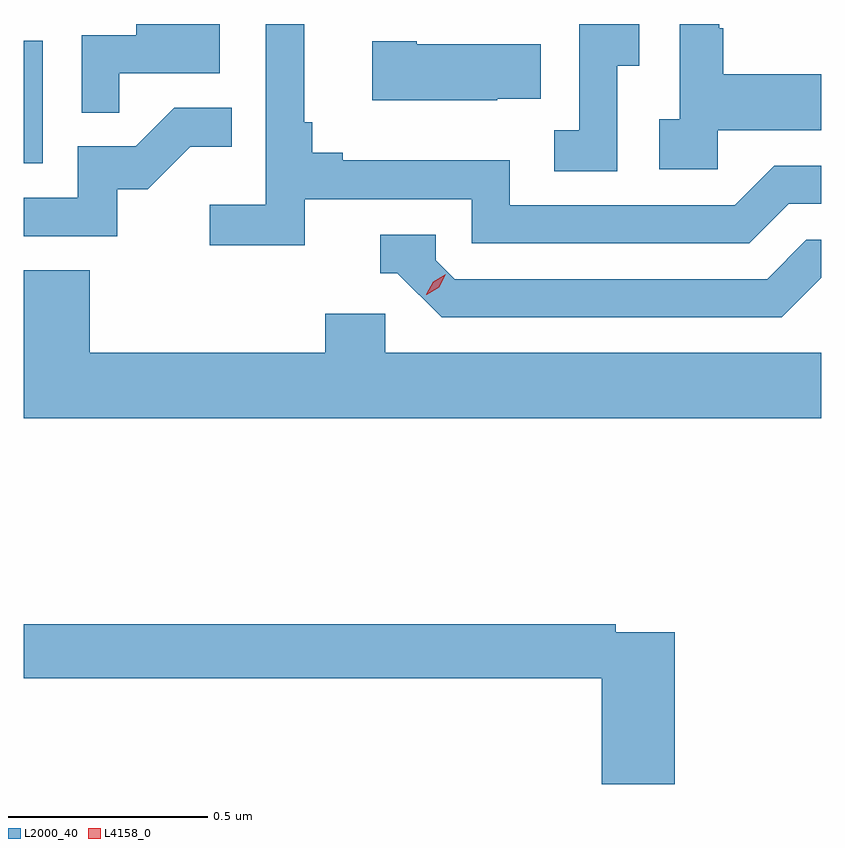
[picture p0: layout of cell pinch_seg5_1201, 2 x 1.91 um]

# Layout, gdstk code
import gdstk
lib = gdstk.Library(unit=1e-6, precision=1e-09)
def R(c, l, rs):  # rectangles x0, y0, x1, y1
    for r in rs: c.add(gdstk.rectangle(r[:2], r[2:], *l))
def P(c, l, *ps):  # polygons
    for p in ps: c.add(gdstk.Polygon(p, *l))
L2000_40 = (2000, 40)
L4158_0 = (4158, 0)

pinch_seg5_1201 = lib.new_cell('pinch_seg5_1201')
R(pinch_seg5_1201, L2000_40, [(838.763,840.084,838.81,840.391)])
P(pinch_seg5_1201, L2000_40, [(839.468,839.994),(839.886,839.994),(839.886,839.883),(840.583,839.883),(840.682,839.982),(840.763,839.982),(840.763,840.078),(840.645,840.078),(840.546,839.979),(839.982,839.979),(839.982,840.091),(839.563,840.091),(839.563,840.11),(839.486,840.11),(839.486,840.187),(839.467,840.187),(839.467,840.433),(839.37,840.433),(839.37,839.98),(839.229,839.98),(839.229,839.878),(839.468,839.878)],
  [(840.504,840.167),(840.763,840.167),(840.763,840.307),(840.517,840.307),(840.517,840.422),(840.507,840.422),(840.507,840.433),(840.408,840.433),(840.408,840.194),(840.357,840.194),(840.357,840.069),(840.504,840.069)],
  [(839.003,840.309),(839.254,840.309),(839.254,840.433),(839.045,840.433),(839.045,840.405),(838.908,840.405),(838.908,840.211),(839.003,840.211)],
  [(840.252,840.328),(840.307,840.328),(840.307,840.433),(840.156,840.433),(840.156,840.167),(840.093,840.167),(840.093,840.064),(840.252,840.064)],
  [(839.951,840.245),(840.059,840.245),(840.059,840.382),(839.749,840.382),(839.749,840.39),(839.637,840.39),(839.637,840.242),(839.951,840.242)],
  [(838.998,840.018),(839.074,840.018),(839.181,840.125),(839.285,840.125),(839.285,840.223),(839.141,840.223),(839.044,840.126),(838.899,840.126),(838.899,839.997),(838.763,839.997),(838.763,839.901),(838.998,839.901)],
  [(840.763,839.796),(840.763,839.892),(840.726,839.892),(840.627,839.793),(839.844,839.793),(839.796,839.841),(839.796,839.904),(839.657,839.904),(839.657,839.808),(839.7,839.808),(839.811,839.697),(840.664,839.697)],
  [(840.763,839.608),(839.67,839.608),(839.67,839.706),(839.519,839.706),(839.519,839.608),(838.928,839.608),(838.928,839.816),(838.763,839.816),(838.763,839.444),(840.763,839.444)],
  [(840.395,838.908),(840.248,838.908),(840.248,838.928),(838.763,838.928),(838.763,838.792),(840.212,838.792),(840.212,838.527),(840.395,838.527)])
P(pinch_seg5_1201, L4158_0, [(839.773,839.754),(839.773,839.755),(839.79,839.787),(839.821,839.806),(839.821,839.806),(839.821,839.806),(839.805,839.773),(839.774,839.754)])

lib.write_gds('pinch_seg5_1201.gds')
